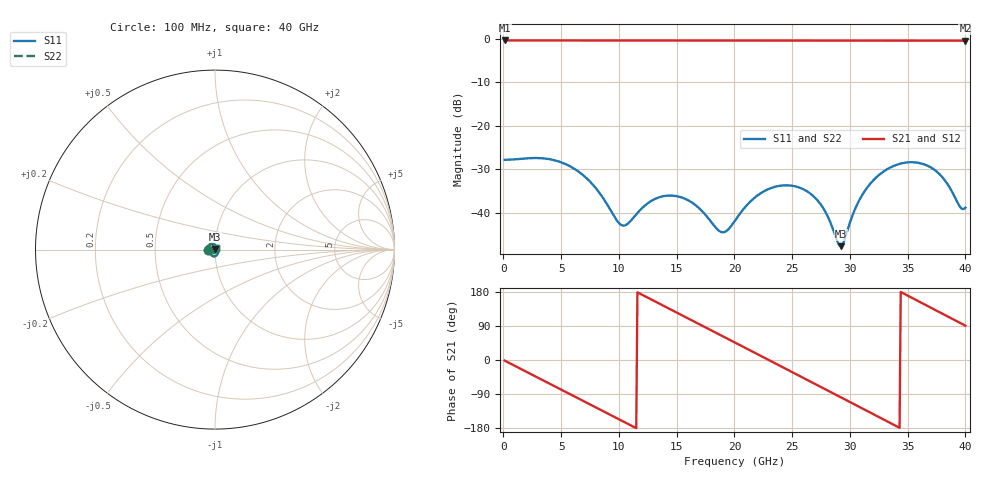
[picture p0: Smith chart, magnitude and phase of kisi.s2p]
! thru_ts6_L6: 2×thru, L6, 8 mm
! stackup: ThunderScope Rev5.3 6-layer (FR408HR / FR-4, from the board file)
! ports: 1, 2
! kisi-fdtd, conformal, dfine 0.035 mm, 365568 cells
# Hz S RI R 50
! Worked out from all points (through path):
!   400 points, 100 MHz to 40 GHz, reference 50 ohm
!   highest |S21| = -0.40 dB at 100 MHz (marker M1); lowest = -0.5 dB at 40 GHz (marker M2)
!   group delay of S21, straight-line fit = 43.7 ps
!   lowest |S11| = -47.7 dB at 29.2 GHz (marker M3), VSWR 1.01, Z = 50.1 + j0.408 ohm
!   |S11| at or under -10 dB: start of sweep to end of sweep
!   |S22| runs from -47.7 to -27.4 dB; largest |S21 - S12| = 0
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1e8  -0.0405 0.000472  0.9544 -0.0261  0.9544 -0.0261  -0.0405 0.000472
1.9e9  -0.0406 0.0108  0.8289 -0.4733  0.8289 -0.4733  -0.0406 0.0108
3.8e9  -0.0328 0.0256  0.4851 -0.8215  0.4851 -0.8215  -0.0328 0.0256
6.8e9  -0.00134 0.0276  -0.2683 -0.9151  -0.2683 -0.9151  -0.00134 0.0276
1.03e10  0.00606 -0.00375  -0.9019 -0.3089  -0.9019 -0.3089  0.00606 -0.00375
1.18e10  -0.00357 -0.00996  -0.9503 0.0761  -0.9503 0.0761  -0.00357 -0.00996
1.34e10  -0.013 -0.00718  -0.8284 0.4715  -0.8284 0.4715  -0.013 -0.00718
1.52e10  -0.0151 0.00213  -0.5069 0.807  -0.5069 0.807  -0.0151 0.00213
1.68e10  -0.00846 0.00807  -0.1166 0.9456  -0.1166 0.9456  -0.00846 0.00807
1.89e10  0.00398 0.00444  0.4167 0.8565  0.4167 0.8565  0.00398 0.00444
2.01e10  0.00776 -0.00286  0.671 0.6757  0.671 0.6757  0.00776 -0.00286
2.17e10  0.0056 -0.0136  0.8944 0.3263  0.8944 0.3263  0.0056 -0.0136
2.33e10  -0.00327 -0.0192  0.948 -0.0852  0.948 -0.0852  -0.00327 -0.0192
2.49e10  -0.0128 -0.016  0.8213 -0.4806  0.8213 -0.4806  -0.0128 -0.016
2.67e10  -0.0153 -0.00492  0.494 -0.813  0.494 -0.813  -0.0153 -0.00492
2.78e10  -0.0106 0.00148  0.2288 -0.9232  0.2288 -0.9232  -0.0106 0.00148
2.92e10  0.000566 0.00408  -0.1355 -0.9413  -0.1355 -0.9413  0.000566 0.00408
3.11e10  0.0148 -0.00669  -0.5884 -0.7467  -0.5884 -0.7467  0.0148 -0.00669
3.34e10  0.0108 -0.0307  -0.9164 -0.2515  -0.9164 -0.2515  0.0108 -0.0307
3.64e10  -0.0222 -0.0283  -0.8032 0.5066  -0.8032 0.5066  -0.0222 -0.0283
3.83e10  -0.0227 -0.00202  -0.4393 0.8414  -0.4393 0.8414  -0.0227 -0.00202
4e10  0.00281 0.011  -0.00876 0.9488  -0.00876 0.9488  0.00281 0.011
